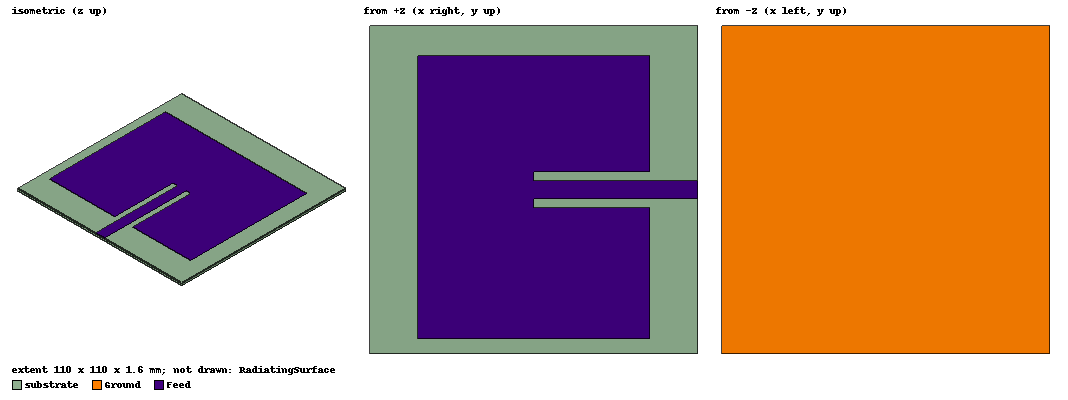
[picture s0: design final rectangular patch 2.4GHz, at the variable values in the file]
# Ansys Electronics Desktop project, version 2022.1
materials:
  vacuum: permittivity=1
  FR4_epoxy: permittivity=4.4 dielectric_loss_tangent=0.02

design final rectangular patch 2.4GHz (HFSS, DrivenModal, model units mm)
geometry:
  Ground = rectangle(corner=(-55mm, -55mm, 0mm), x_size=110mm, y_size=110mm)
  substrate [FR4_epoxy] = box(corner=(-55mm, -55mm, 0mm), size=(110mm, 110mm, 1.6mm))
  Patch = rectangle(corner=((77.967/2) mm, (-99.767/2) mm, 1.6mm), x_size=-77.967mm, y_size=(99.767-5) mm)
  Feed = rectangle(corner=(55mm, -3mm, 1.6mm), x_size=-77.967mm, y_size=6mm)
  cut = rectangle(corner=((77.967/2) mm, -6mm, 1.6mm), x_size=-38.9835mm, y_size=12mm)
  Port = rectangle(corner=(30mm, -1.5mm, 1.6mm), y_size=3mm, z_size=-1.6mm)
  Patch.subtract(cut)
  Feed.unite(Patch)
  RadiatingSurface [vacuum] = region(absolute_offset=41.666667mm on all sides)
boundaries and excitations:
  PerfE2: Perfect E Objects=Ground
  PerfE3: Perfect E Objects=Feed
  Open1: Radiation Objects=RadiatingSurface
  1: Lumped Port Objects=Port Modes{Mode1{IntLine{(30, 0, 0) -> (30, 0, 1.6)} CharImp=Zpi RenormImp=50ohm}} Impedance=50ohm
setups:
  Setup1: HfssDriven Frequency=0.915GHz MaxDeltaS=0.02 MaximumPasses=6 MinimumPasses=1 MinimumConvergedPasses=1 PercentRefinement=30 BasisOrder=1 PortAccuracy=2 DrivenSolverType="Direct Solver"
    sweep Sweep: 2.3GHz to 2.5GHz, 201 points; Type=Fast SaveFields
    sweep Sweep1: 0.4575GHz to 1.3725GHz, 401 points; Type=Interpolating InterpTolerance=0.5 InterpMaxSolns=250 InterpUsePortImped=false PassivityErrorTolerance=0.0001
  Setup2: HfssDriven Frequency=2.4GHz MaxDeltaS=0.02 MaximumPasses=6 MinimumPasses=1 MinimumConvergedPasses=1 PercentRefinement=30 BasisOrder=1 PortAccuracy=2 DrivenSolverType="Direct Solver"
    sweep Sweep: 2GHz to 3GHz, 201 points; Type=Fast SaveFields
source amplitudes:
  1:1: 1W 0deg
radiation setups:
  3D: Infinite Sphere Theta=0deg..180deg step 2deg Phi=-180deg..180deg step 2deg
  Elevation: Infinite Sphere Theta=-180deg..180deg step 1deg Phi=0deg..90deg step 90deg
  Azimuth: Infinite Sphere Theta=90deg..90deg step 0deg Phi=-180deg..180deg step 1deg
  Infinite Sphere1: Infinite Sphere Theta=0deg..360deg step 10deg Phi=-180deg..180deg step 2deg
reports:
  Z Parameter Plot 1: re(Z(1,1)), im(Z(1,1)) vs Freq on Setup1 : Sweep; markers MX1 at x=2.4e+09
  Z Parameter Plot 2: mag(Z(1,1)) vs Freq on Setup1 : Sweep; markers MX1 at x=2.4025392e+09
  S Parameter Plot 2: dB(S(1,1)) vs Freq on Setup2 : Sweep
  Gain Plot 1: dB(GainTotal) vs Phi, Theta on Setup1 : LastAdaptive, Infinite Sphere1 [Freq=2.4GHz]
  S Parameter Plot 3: dB(S(1,1)) vs Freq on Setup1 : Sweep
